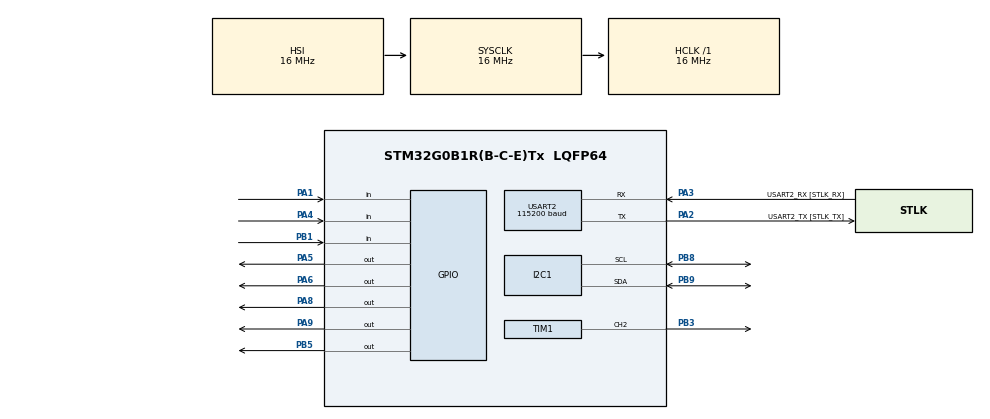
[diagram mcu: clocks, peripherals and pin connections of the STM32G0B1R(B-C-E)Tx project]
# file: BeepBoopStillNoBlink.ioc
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Mcu.Family=STM32G0
Mcu.Name=STM32G0B1R(B-C-E)Tx
Mcu.Package=LQFP64
NVIC.TIM2_IRQn=true\:0\:0\:false\:false\:true\:true\:true\:true
NVIC.USART2_LPUART2_IRQn=true\:0\:0\:false\:false\:true\:true\:true\:true
PA1.GPIO_PuPd=GPIO_NOPULL
PA1.Signal=GPIO_Input
PA13.GPIO_Label=TMS
PA13.Mode=Serial_Wire
PA13.Signal=SYS_SWDIO
PA14-BOOT0.GPIO_Label=TCK
PA14-BOOT0.Mode=Serial_Wire
PA14-BOOT0.Signal=SYS_SWCLK
PA2.GPIO_Label=USART2_TX [STLK_TX]
PA2.Mode=Asynchronous
PA2.Signal=USART2_TX
PA3.GPIO_Label=USART2_RX [STLK_RX]
PA3.Mode=Asynchronous
PA3.Signal=USART2_RX
PA4.GPIO_PuPd=GPIO_NOPULL
PA4.Signal=GPIO_Input
PA5.Signal=GPIO_Output
PA6.Signal=GPIO_Output
PA8.Signal=GPIO_Output
PA9.Signal=GPIO_Output
PB1.Signal=GPIO_Input
PB3.Signal=S_TIM1_CH2
PB5.PinState=GPIO_PIN_SET
PB5.Signal=GPIO_Output
PB8.Mode=I2C
PB8.Signal=I2C1_SCL
PB9.Mode=I2C
PB9.Signal=I2C1_SDA
PC13.Mode=SYS_WakeUp1
PC13.Signal=SYS_WKUP2
PC14-OSC32_IN\ (PC14).Mode=LSE-External-Oscillator
PC14-OSC32_IN\ (PC14).Signal=RCC_OSC32_IN
PC15-OSC32_OUT\ (PC15).Mode=LSE-External-Oscillator
PC15-OSC32_OUT\ (PC15).Signal=RCC_OSC32_OUT
PF0-OSC_IN\ (PF0).GPIO_Label=MCO
PF0-OSC_IN\ (PF0).Mode=HSE-External-Oscillator
PF0-OSC_IN\ (PF0).Signal=RCC_OSC_IN
PF1-OSC_OUT\ (PF1).Mode=HSE-External-Oscillator
PF1-OSC_OUT\ (PF1).Signal=RCC_OSC_OUT
ProjectManager.HeapSize=0x200
ProjectManager.StackSize=0x400
ProjectManager.TargetToolchain=STM32CubeIDE
RCC.ADCFreq_Value=16000000
RCC.AHBFreq_Value=16000000
RCC.CortexFreq_Value=16000000
RCC.EXTERNAL_CLOCK_VALUE=12288000
RCC.HCLKFreq_Value=16000000
RCC.HSE_VALUE=8000000
RCC.HSI48_VALUE=48000000
RCC.HSI_VALUE=16000000
RCC.PLLN=16
RCC.PLLQ=RCC_PLLQ_DIV4
RCC.PLLSourceVirtual=RCC_PLLSOURCE_HSE
RCC.SYSCLKFreq_VALUE=16000000
RCC.USBFreq_Value=48000000
RCC.VCOOutputFreq_Value=128000000
SH.S_TIM1_CH2.0=TIM1_CH2,PWM Generation2 CH2
TIM1.Channel-PWM\ Generation2\ CH2=TIM_CHANNEL_2
TIM1.Period=1000
TIM1.Prescaler=16
TIM2.AutoReloadPreload=TIM_AUTORELOAD_PRELOAD_ENABLE
TIM2.Period=1000
TIM2.Prescaler=16000
USART2.BaudRate=115200
USART2.VirtualMode-Asynchronous=VM_ASYNC
VP_SYS_VS_DBSignals.Mode=DisableDeadBatterySignals
VP_TIM1_VS_ClockSourceINT.Mode=Internal
VP_TIM2_VS_ClockSourceINT.Mode=Internal
board=NUCLEO-G0B1RE

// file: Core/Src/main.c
/* USER CODE BEGIN Header */
/**
  ******************************************************************************
  * @file           : main.c
  * @brief          : Main program body
  ******************************************************************************
  * @attention
  *
  * Copyright (c) 2024 STMicroelectronics.
  * All rights reserved.
  *
  * This software is licensed under terms that can be found in the LICENSE file
  * in the root directory of this software component.
  * If no LICENSE file comes with this software, it is provided AS-IS.
  *
  ******************************************************************************
  */
/* USER CODE END Header */
#include "main.h"

/* USER CODE BEGIN Includes */
#include "main_cpp.h"
/* USER CODE END Includes */

I2C_HandleTypeDef hi2c1;

TIM_HandleTypeDef htim1;
TIM_HandleTypeDef htim2;

UART_HandleTypeDef huart2;

/* USER CODE BEGIN PV */
uint8_t UART2_rxBuffer[18];
uint8_t scaleIndex = 0;
uint16_t scale[12] = {523,554,587,622,659,698,740,784,831,880,932,988};
/* USER CODE END PV */

void SystemClock_Config(void);
static void MX_GPIO_Init(void);
static void MX_USART2_UART_Init(void);
static void MX_I2C1_Init(void);
static void MX_TIM1_Init(void);
static void MX_TIM2_Init(void);

/* USER CODE BEGIN 0 */
void HAL_TIM_PeriodElapsedCallback(TIM_HandleTypeDef *htim)
{
    if (htim->Instance == TIM2) {
        // Your code here, e.g., toggle an LED
    	if(readPlayMode() == 1){
    		playTone(&htim1, &htim2, scale[scaleIndex], 0, 500);
    		scaleIndex++;
    		if(scaleIndex >= 12){
    			scaleIndex = 0;
    		}
		  }
		  else if(readPlayMode() == 2){
			  playTone(&htim1, &htim2, 500, 0, 500);
		  }else{
			__HAL_TIM_SET_COMPARE(&htim1, TIM_CHANNEL_2, 0);
			setRead();
		  }
    	HAL_GPIO_TogglePin (GPIOA, GPIO_PIN_6);
    }
}
void HAL_UART_RxCpltCallback(UART_HandleTypeDef *huart)
{
    if (huart->Instance == USART2)
    {
    	HAL_GPIO_TogglePin (GPIOA, GPIO_PIN_5);
        // Process received data stored in UART2_rxBuffer
        // For example, echo the received data back
//        HAL_UART_Transmit(&huart2, UART2_rxBuffer, 26, 100);
    	if(readPlayMode() == 0){
    		uint16_t freq = (uint16_t)UART2_rxBuffer[0] << 8 | UART2_rxBuffer[1];
    			  uint64_t start = ((uint64_t)UART2_rxBuffer[2] << 56) | ((uint64_t)UART2_rxBuffer[3] << 48) |
    									((uint64_t)UART2_rxBuffer[4] << 40) | ((uint64_t)UART2_rxBuffer[5] << 32) |
    									((uint64_t)UART2_rxBuffer[6] << 24) | ((uint64_t)UART2_rxBuffer[7] << 16) |
    									((uint64_t)UART2_rxBuffer[8] << 8) | UART2_rxBuffer[9];
    			  uint64_t end = ((uint64_t)UART2_rxBuffer[10] << 56) | ((uint64_t)UART2_rxBuffer[11] << 48) |
    												((uint64_t)UART2_rxBuffer[12] << 40) | ((uint64_t)UART2_rxBuffer[13] << 32) |
    												((uint64_t)UART2_rxBuffer[14] << 24) | ((uint64_t)UART2_rxBuffer[15] << 16) |
    												((uint64_t)UART2_rxBuffer[16] << 8) | UART2_rxBuffer[17];
    			  	  playTone(&htim1, &htim2, freq, start, end);
    	}
        // Restart the reception
        HAL_UART_Receive_IT(&huart2, UART2_rxBuffer, 18);
    }
}

/* USER CODE END 0 */

int main(void)
{

  /* MCU Configuration--------------------------------------------------------*/

  /* Reset of all peripherals, Initializes the Flash interface and the Systick. */
  HAL_Init();

  /* Configure the system clock */
  SystemClock_Config();

  /* Initialize all configured peripherals */
  MX_GPIO_Init();
  MX_USART2_UART_Init();
  MX_I2C1_Init();
  MX_TIM1_Init();
  MX_TIM2_Init();
  /* USER CODE BEGIN 2 */
  __HAL_TIM_SET_AUTORELOAD(&htim2, 50000);
//  __HAL_TIM_SET_COMPARE(&htim2, TIM_CHANNEL_1, 999);
  HAL_TIM_Base_Start_IT(&htim2);
  HAL_UART_Receive_IT(&huart2, UART2_rxBuffer, 18);
  /* USER CODE END 2 */

  /* Infinite loop */
  while (1)
  {

    /* USER CODE BEGIN 3 */
	  main_cpp(huart2, &htim1, &htim2);
  }
  /* USER CODE END 3 */
}

void SystemClock_Config(void)
{
  RCC_OscInitTypeDef RCC_OscInitStruct = {0};
  RCC_ClkInitTypeDef RCC_ClkInitStruct = {0};

  /** Configure the main internal regulator output voltage
  */
  HAL_PWREx_ControlVoltageScaling(PWR_REGULATOR_VOLTAGE_SCALE1);

  /** Initializes the RCC Oscillators according to the specified parameters
  * in the RCC_OscInitTypeDef structure.
  */
  RCC_OscInitStruct.OscillatorType = RCC_OSCILLATORTYPE_HSI;
  RCC_OscInitStruct.HSIState = RCC_HSI_ON;
  RCC_OscInitStruct.HSIDiv = RCC_HSI_DIV1;
  RCC_OscInitStruct.HSICalibrationValue = RCC_HSICALIBRATION_DEFAULT;
  RCC_OscInitStruct.PLL.PLLState = RCC_PLL_NONE;
  if (HAL_RCC_OscConfig(&RCC_OscInitStruct) != HAL_OK)
  {
    Error_Handler();
  }

  /** Initializes the CPU, AHB and APB buses clocks
  */
  RCC_ClkInitStruct.ClockType = RCC_CLOCKTYPE_HCLK|RCC_CLOCKTYPE_SYSCLK
                              |RCC_CLOCKTYPE_PCLK1;
  RCC_ClkInitStruct.SYSCLKSource = RCC_SYSCLKSOURCE_HSI;
  RCC_ClkInitStruct.AHBCLKDivider = RCC_SYSCLK_DIV1;
  RCC_ClkInitStruct.APB1CLKDivider = RCC_HCLK_DIV1;

  if (HAL_RCC_ClockConfig(&RCC_ClkInitStruct, FLASH_LATENCY_0) != HAL_OK)
  {
    Error_Handler();
  }
}

static void MX_I2C1_Init(void)
{

  hi2c1.Instance = I2C1;
  hi2c1.Init.Timing = 0x00303D5B;
  hi2c1.Init.OwnAddress1 = 0;
  hi2c1.Init.AddressingMode = I2C_ADDRESSINGMODE_7BIT;
  hi2c1.Init.DualAddressMode = I2C_DUALADDRESS_DISABLE;
  hi2c1.Init.OwnAddress2 = 0;
  hi2c1.Init.OwnAddress2Masks = I2C_OA2_NOMASK;
  hi2c1.Init.GeneralCallMode = I2C_GENERALCALL_DISABLE;
  hi2c1.Init.NoStretchMode = I2C_NOSTRETCH_DISABLE;
  if (HAL_I2C_Init(&hi2c1) != HAL_OK)
  {
    Error_Handler();
  }

  /** Configure Analogue filter
  */
  if (HAL_I2CEx_ConfigAnalogFilter(&hi2c1, I2C_ANALOGFILTER_ENABLE) != HAL_OK)
  {
    Error_Handler();
  }

  /** Configure Digital filter
  */
  if (HAL_I2CEx_ConfigDigitalFilter(&hi2c1, 0) != HAL_OK)
  {
    Error_Handler();
  }

}

static void MX_TIM1_Init(void)
{

  TIM_ClockConfigTypeDef sClockSourceConfig = {0};
  TIM_MasterConfigTypeDef sMasterConfig = {0};
  TIM_OC_InitTypeDef sConfigOC = {0};
  TIM_BreakDeadTimeConfigTypeDef sBreakDeadTimeConfig = {0};

  htim1.Instance = TIM1;
  htim1.Init.Prescaler = 16;
  htim1.Init.CounterMode = TIM_COUNTERMODE_UP;
  htim1.Init.Period = 1000;
  htim1.Init.ClockDivision = TIM_CLOCKDIVISION_DIV1;
  htim1.Init.RepetitionCounter = 0;
  htim1.Init.AutoReloadPreload = TIM_AUTORELOAD_PRELOAD_DISABLE;
  if (HAL_TIM_Base_Init(&htim1) != HAL_OK)
  {
    Error_Handler();
  }
  sClockSourceConfig.ClockSource = TIM_CLOCKSOURCE_INTERNAL;
  if (HAL_TIM_ConfigClockSource(&htim1, &sClockSourceConfig) != HAL_OK)
  {
    Error_Handler();
  }
  if (HAL_TIM_PWM_Init(&htim1) != HAL_OK)
  {
    Error_Handler();
  }
  sMasterConfig.MasterOutputTrigger = TIM_TRGO_RESET;
  sMasterConfig.MasterOutputTrigger2 = TIM_TRGO2_RESET;
  sMasterConfig.MasterSlaveMode = TIM_MASTERSLAVEMODE_DISABLE;
  if (HAL_TIMEx_MasterConfigSynchronization(&htim1, &sMasterConfig) != HAL_OK)
  {
    Error_Handler();
  }
  sConfigOC.OCMode = TIM_OCMODE_PWM1;
  sConfigOC.Pulse = 0;
  sConfigOC.OCPolarity = TIM_OCPOLARITY_HIGH;
  sConfigOC.OCNPolarity = TIM_OCNPOLARITY_HIGH;
  sConfigOC.OCFastMode = TIM_OCFAST_DISABLE;
  sConfigOC.OCIdleState = TIM_OCIDLESTATE_RESET;
  sConfigOC.OCNIdleState = TIM_OCNIDLESTATE_RESET;
  if (HAL_TIM_PWM_ConfigChannel(&htim1, &sConfigOC, TIM_CHANNEL_2) != HAL_OK)
  {
    Error_Handler();
  }
  sBreakDeadTimeConfig.OffStateRunMode = TIM_OSSR_DISABLE;
  sBreakDeadTimeConfig.OffStateIDLEMode = TIM_OSSI_DISABLE;
  sBreakDeadTimeConfig.LockLevel = TIM_LOCKLEVEL_OFF;
  sBreakDeadTimeConfig.DeadTime = 0;
  sBreakDeadTimeConfig.BreakState = TIM_BREAK_DISABLE;
  sBreakDeadTimeConfig.BreakPolarity = TIM_BREAKPOLARITY_HIGH;
  sBreakDeadTimeConfig.BreakFilter = 0;
  sBreakDeadTimeConfig.BreakAFMode = TIM_BREAK_AFMODE_INPUT;
  sBreakDeadTimeConfig.Break2State = TIM_BREAK2_DISABLE;
  sBreakDeadTimeConfig.Break2Polarity = TIM_BREAK2POLARITY_HIGH;
  sBreakDeadTimeConfig.Break2Filter = 0;
  sBreakDeadTimeConfig.Break2AFMode = TIM_BREAK_AFMODE_INPUT;
  sBreakDeadTimeConfig.AutomaticOutput = TIM_AUTOMATICOUTPUT_DISABLE;
  if (HAL_TIMEx_ConfigBreakDeadTime(&htim1, &sBreakDeadTimeConfig) != HAL_OK)
  {
    Error_Handler();
  }
  /* USER CODE BEGIN TIM1_Init 2 */
  HAL_TIM_Base_Start(&htim1);
  HAL_TIM_PWM_Start(&htim1, TIM_CHANNEL_2);
  /* USER CODE END TIM1_Init 2 */
  HAL_TIM_MspPostInit(&htim1);

}

static void MX_TIM2_Init(void)
{

  TIM_ClockConfigTypeDef sClockSourceConfig = {0};
  TIM_MasterConfigTypeDef sMasterConfig = {0};

  htim2.Instance = TIM2;
  htim2.Init.Prescaler = 16000;
  htim2.Init.CounterMode = TIM_COUNTERMODE_UP;
  htim2.Init.Period = 1000;
  htim2.Init.ClockDivision = TIM_CLOCKDIVISION_DIV1;
  htim2.Init.AutoReloadPreload = TIM_AUTORELOAD_PRELOAD_ENABLE;
  if (HAL_TIM_Base_Init(&htim2) != HAL_OK)
  {
    Error_Handler();
  }
  sClockSourceConfig.ClockSource = TIM_CLOCKSOURCE_INTERNAL;
  if (HAL_TIM_ConfigClockSource(&htim2, &sClockSourceConfig) != HAL_OK)
  {
    Error_Handler();
  }
  sMasterConfig.MasterOutputTrigger = TIM_TRGO_RESET;
  sMasterConfig.MasterSlaveMode = TIM_MASTERSLAVEMODE_DISABLE;
  if (HAL_TIMEx_MasterConfigSynchronization(&htim2, &sMasterConfig) != HAL_OK)
  {
    Error_Handler();
  }
  /* USER CODE BEGIN TIM2_Init 2 */
//  HAL_TIM_Base_Start(&htim2);
//  HAL_TIM_PWM_Start(&htim2, TIM_CHANNEL_1);
  /* USER CODE END TIM2_Init 2 */

}

static void MX_USART2_UART_Init(void)
{

  huart2.Instance = USART2;
  huart2.Init.BaudRate = 115200;
  huart2.Init.WordLength = UART_WORDLENGTH_8B;
  huart2.Init.StopBits = UART_STOPBITS_1;
  huart2.Init.Parity = UART_PARITY_NONE;
  huart2.Init.Mode = UART_MODE_TX_RX;
  huart2.Init.HwFlowCtl = UART_HWCONTROL_NONE;
  huart2.Init.OverSampling = UART_OVERSAMPLING_16;
  huart2.Init.OneBitSampling = UART_ONE_BIT_SAMPLE_DISABLE;
  huart2.Init.ClockPrescaler = UART_PRESCALER_DIV1;
  huart2.AdvancedInit.AdvFeatureInit = UART_ADVFEATURE_NO_INIT;
  if (HAL_UART_Init(&huart2) != HAL_OK)
  {
    Error_Handler();
  }
  if (HAL_UARTEx_SetTxFifoThreshold(&huart2, UART_TXFIFO_THRESHOLD_1_8) != HAL_OK)
  {
    Error_Handler();
  }
  if (HAL_UARTEx_SetRxFifoThreshold(&huart2, UART_RXFIFO_THRESHOLD_1_8) != HAL_OK)
  {
    Error_Handler();
  }
  if (HAL_UARTEx_DisableFifoMode(&huart2) != HAL_OK)
  {
    Error_Handler();
  }

}

static void MX_GPIO_Init(void)
{
  GPIO_InitTypeDef GPIO_InitStruct = {0};

  /* GPIO Ports Clock Enable */
  __HAL_RCC_GPIOC_CLK_ENABLE();
  __HAL_RCC_GPIOF_CLK_ENABLE();
  __HAL_RCC_GPIOA_CLK_ENABLE();
  __HAL_RCC_GPIOB_CLK_ENABLE();

  /*Configure GPIO pin Output Level */
  HAL_GPIO_WritePin(GPIOA, GPIO_PIN_5|GPIO_PIN_6|GPIO_PIN_8|GPIO_PIN_9, GPIO_PIN_RESET);

  /*Configure GPIO pin Output Level */
  HAL_GPIO_WritePin(GPIOB, GPIO_PIN_5, GPIO_PIN_SET);

  /*Configure GPIO pins : PA1 PA4 */
  GPIO_InitStruct.Pin = GPIO_PIN_1|GPIO_PIN_4;
  GPIO_InitStruct.Mode = GPIO_MODE_INPUT;
  GPIO_InitStruct.Pull = GPIO_NOPULL;
  HAL_GPIO_Init(GPIOA, &GPIO_InitStruct);

  /*Configure GPIO pins : PA5 PA6 PA8 PA9 */
  GPIO_InitStruct.Pin = GPIO_PIN_5|GPIO_PIN_6|GPIO_PIN_8|GPIO_PIN_9;
  GPIO_InitStruct.Mode = GPIO_MODE_OUTPUT_PP;
  GPIO_InitStruct.Pull = GPIO_NOPULL;
  GPIO_InitStruct.Speed = GPIO_SPEED_FREQ_LOW;
  HAL_GPIO_Init(GPIOA, &GPIO_InitStruct);

  /*Configure GPIO pin : PB1 */
  GPIO_InitStruct.Pin = GPIO_PIN_1;
  GPIO_InitStruct.Mode = GPIO_MODE_INPUT;
  GPIO_InitStruct.Pull = GPIO_NOPULL;
  HAL_GPIO_Init(GPIOB, &GPIO_InitStruct);

  /*Configure GPIO pin : PB5 */
  GPIO_InitStruct.Pin = GPIO_PIN_5;
  GPIO_InitStruct.Mode = GPIO_MODE_OUTPUT_PP;
  GPIO_InitStruct.Pull = GPIO_NOPULL;
  GPIO_InitStruct.Speed = GPIO_SPEED_FREQ_LOW;
  HAL_GPIO_Init(GPIOB, &GPIO_InitStruct);

}

void Error_Handler(void)
{
  __disable_irq();
  while (1)
  {
  }
}
